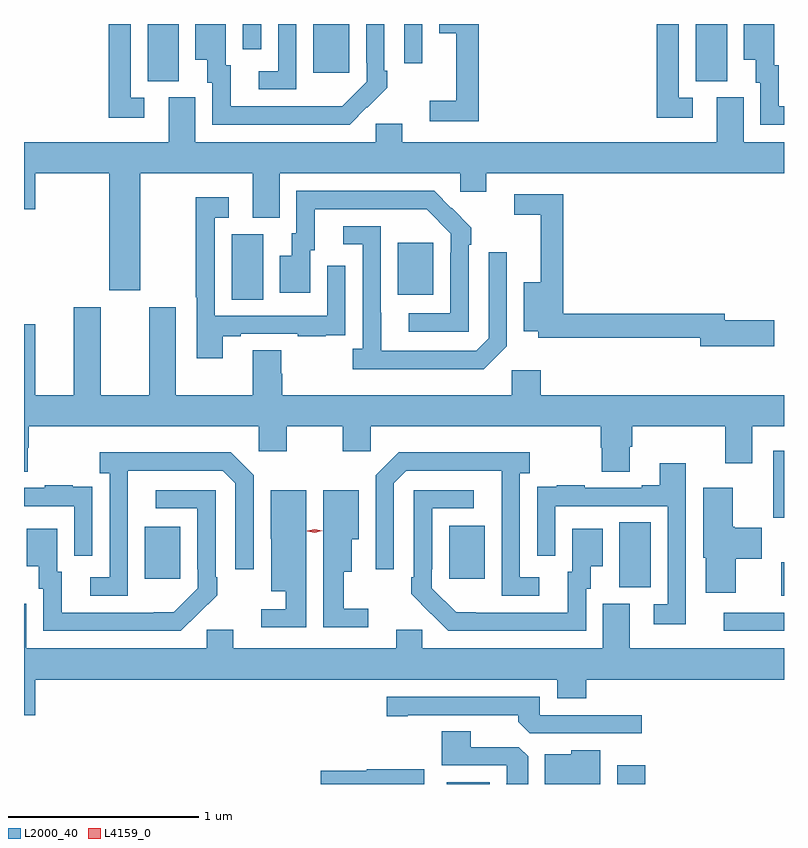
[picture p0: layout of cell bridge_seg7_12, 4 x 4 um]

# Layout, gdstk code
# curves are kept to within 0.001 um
import gdstk
lib = gdstk.Library(unit=1e-6, precision=1e-09)
def R(c, l, rs):  # rectangles x0, y0, x1, y1
    for r in rs: c.add(gdstk.rectangle(r[:2], r[2:], *l))
def P(c, l, *ps):  # polygons
    for p in ps: c.add(gdstk.Polygon(p, *l))
L2000_40 = (2000, 40)
L4159_0 = (4159, 0)

bridge_seg7_12 = lib.new_cell('bridge_seg7_12')
R(bridge_seg7_12, L2000_40, [(1102.403,1040.026,1102.63,1040.035), (1103.3,1040.026,1103.447,1040.125), (1103.862,1040.832,1104.178,1040.928), (1104.164,1041.017,1104.178,1041.192), (1103.312,1041.061,1103.476,1041.404), (1100.813,1041.105,1101.001,1041.379), (1102.415,1041.105,1102.603,1041.385), (1104.122,1041.428,1104.178,1041.781), (1101.272,1042.576,1101.436,1042.92), (1102.145,1042.601,1102.333,1042.876), (1100.828,1043.725,1100.992,1044.026), (1103.714,1043.725,1103.878,1044.026), (1101.701,1043.769,1101.889,1044.026), (1102.179,1043.82,1102.275,1044.026), (1101.33,1043.892,1101.426,1044.026)])
P(bridge_seg7_12, L2000_40, [(1104.178,1043.592),(1104.151,1043.592),(1104.151,1043.808),(1104.127,1043.808),(1104.127,1044.026),(1103.966,1044.026),(1103.966,1043.837),(1104.029,1043.837),(1104.029,1043.718),(1104.054,1043.718),(1104.054,1043.496),(1104.178,1043.496)],
  [(1103.698,1043.637),(1103.625,1043.637),(1103.625,1044.026),(1103.509,1044.026),(1103.509,1043.532),(1103.698,1043.532)],
  [(1101.983,1043.587),(1101.984,1043.586),(1102.089,1043.691),(1102.089,1043.779),(1102.074,1043.779),(1102.074,1044.026),(1101.978,1044.026),(1101.978,1043.821),(1101.981,1043.821),(1101.981,1043.721),(1101.853,1043.593),(1101.749,1043.592),(1101.265,1043.592),(1101.265,1043.808),(1101.241,1043.808),(1101.241,1044.026),(1101.08,1044.026),(1101.08,1043.837),(1101.143,1043.837),(1101.143,1043.718),(1101.168,1043.718),(1101.168,1043.496),(1101.892,1043.496)],
  [(1101.612,1044.026),(1101.516,1044.026),(1101.516,1043.778),(1101.414,1043.778),(1101.414,1043.682),(1101.612,1043.682)],
  [(1100.812,1043.637),(1100.739,1043.637),(1100.739,1044.026),(1100.623,1044.026),(1100.623,1043.532),(1100.812,1043.532)],
  [(1102.571,1044.026),(1102.364,1044.026),(1102.364,1043.978),(1102.454,1043.978),(1102.454,1043.623),(1102.314,1043.623),(1102.314,1043.514),(1102.571,1043.514)],
  [(1100.791,1043.24),(1101.383,1043.24),(1101.383,1043.005),(1101.523,1043.005),(1101.523,1043.24),(1102.473,1043.24),(1102.473,1043.142),(1102.612,1043.142),(1102.612,1043.24),(1104.178,1043.24),(1104.178,1043.404),(1103.965,1043.404),(1103.965,1043.64),(1103.825,1043.64),(1103.825,1043.404),(1102.168,1043.404),(1102.168,1043.502),(1102.029,1043.502),(1102.029,1043.404),(1101.079,1043.404),(1101.079,1043.64),(1100.939,1043.64),(1100.939,1043.404),(1100.178,1043.404),(1100.178,1043.052),(1100.236,1043.052),(1100.236,1043.24),(1100.627,1043.24),(1100.627,1042.626),(1100.791,1042.626)],
  [(1102.518,1042.865),(1102.533,1042.865),(1102.533,1042.953),(1102.336,1043.148),(1101.612,1043.148),(1101.612,1042.926),(1101.587,1042.926),(1101.587,1042.807),(1101.524,1042.807),(1101.524,1042.611),(1101.685,1042.611),(1101.685,1042.836),(1101.709,1042.836),(1101.709,1043.052),(1102.297,1043.052),(1102.425,1042.923),(1102.425,1042.823),(1102.422,1042.823),(1102.422,1042.503),(1102.203,1042.503),(1102.203,1042.407),(1102.518,1042.407)],
  [(1104.127,1042.466),(1103.866,1042.466),(1103.866,1042.502),(1103.015,1042.502),(1103.015,1043.13),(1102.758,1043.13),(1102.758,1043.022),(1102.898,1043.022),(1102.898,1042.666),(1102.808,1042.666),(1102.808,1042.409),(1102.884,1042.409),(1102.884,1042.374),(1103.738,1042.374),(1103.738,1042.331),(1104.127,1042.331)],
  [(1101.223,1042.382),(1101.319,1042.382),(1101.319,1042.395),(1101.619,1042.395),(1101.619,1042.382),(1101.767,1042.382),(1101.767,1042.389),(1101.869,1042.389),(1101.869,1042.498),(1101.87,1042.498),(1101.87,1042.753),(1101.774,1042.753),(1101.774,1042.491),(1101.183,1042.491),(1101.183,1043.007),(1101.256,1043.007),(1101.256,1043.113),(1101.082,1043.113),(1101.082,1042.588),(1101.087,1042.588),(1101.087,1042.266),(1101.223,1042.266)],
  [(1102.719,1042.329),(1102.719,1042.825),(1102.623,1042.825),(1102.623,1042.371),(1102.557,1042.305),(1102.057,1042.305),(1102.056,1042.962),(1101.858,1042.962),(1101.858,1042.866),(1101.96,1042.866),(1101.96,1042.318),(1101.909,1042.318),(1101.909,1042.208),(1102.598,1042.208)],
  [(1100.178,1041.67),(1100.199,1041.67),(1100.199,1041.795),(1100.204,1041.795),(1100.204,1041.908),(1101.414,1041.908),(1101.414,1041.777),(1101.561,1041.777),(1101.561,1041.908),(1101.856,1041.908),(1101.856,1041.777),(1102.002,1041.777),(1102.002,1041.908),(1103.213,1041.908),(1103.213,1041.795),(1103.218,1041.795),(1103.218,1041.67),(1103.365,1041.67),(1103.365,1041.802),(1103.378,1041.802),(1103.378,1041.908),(1103.87,1041.908),(1103.87,1041.714),(1104.01,1041.714),(1104.01,1041.908),(1104.178,1041.908),(1104.178,1042.072),(1102.898,1042.072),(1102.898,1042.204),(1102.746,1042.204),(1102.746,1042.072),(1101.536,1042.072),(1101.536,1042.185),(1101.531,1042.185),(1101.531,1042.31),(1101.383,1042.31),(1101.383,1042.072),(1100.977,1042.072),(1100.977,1042.534),(1100.837,1042.534),(1100.837,1042.072),(1100.581,1042.072),(1100.581,1042.534),(1100.441,1042.534),(1100.441,1042.072),(1100.236,1042.072),(1100.236,1042.447),(1100.178,1042.447)],
  [(1100.724,1041.475),(1100.725,1041.675),(1101.225,1041.675),(1101.291,1041.609),(1101.291,1041.156),(1101.387,1041.156),(1101.387,1041.651),(1101.266,1041.772),(1100.577,1041.772),(1100.577,1041.662),(1100.628,1041.662),(1100.628,1041.114),(1100.526,1041.114),(1100.526,1041.018),(1100.724,1041.018)],
  [(1102.891,1041.114),(1102.788,1041.114),(1102.788,1041.662),(1102.84,1041.662),(1102.84,1041.772),(1102.15,1041.772),(1102.029,1041.651),(1102.029,1041.156),(1102.125,1041.156),(1102.125,1041.609),(1102.191,1041.675),(1102.692,1041.675),(1102.692,1041.018),(1102.891,1041.018)],
  [(1103.661,1041.715),(1103.525,1041.715),(1103.525,1041.598),(1103.429,1041.598),(1103.429,1041.585),(1103.129,1041.585),(1103.129,1041.598),(1102.981,1041.598),(1102.981,1041.591),(1102.879,1041.591),(1102.879,1041.482),(1102.878,1041.482),(1102.878,1041.228),(1102.974,1041.228),(1102.974,1041.489),(1103.565,1041.489),(1103.565,1040.973),(1103.493,1040.973),(1103.493,1040.868),(1103.661,1040.868)],
  [(1100.538,1041.482),(1100.537,1041.482),(1100.537,1041.591),(1100.435,1041.591),(1100.435,1041.598),(1100.287,1041.598),(1100.287,1041.585),(1100.178,1041.585),(1100.178,1041.489),(1100.442,1041.489),(1100.442,1041.228),(1100.538,1041.228)],
  [(1103.923,1041.212),(1104.061,1041.212),(1104.061,1041.375),(1103.919,1041.375),(1103.919,1041.381),(1103.908,1041.381),(1103.908,1041.586),(1103.753,1041.586),(1103.753,1041.216),(1103.765,1041.216),(1103.765,1041.033),(1103.923,1041.033)],
  [(1101.095,1040.923),(1101.096,1040.922),(1101.194,1041.02),(1101.194,1041.115),(1101.186,1041.115),(1101.186,1041.573),(1100.871,1041.573),(1100.871,1041.477),(1101.09,1041.477),(1101.09,1041.157),(1101.093,1041.157),(1101.093,1041.057),(1100.965,1040.929),(1100.377,1040.928),(1100.377,1041.144),(1100.353,1041.144),(1100.353,1041.37),(1100.192,1041.37),(1100.192,1041.173),(1100.255,1041.173),(1100.255,1041.054),(1100.28,1041.054),(1100.28,1040.832),(1101.004,1040.832)],
  [(1103.136,1041.054),(1103.161,1041.054),(1103.161,1041.173),(1103.224,1041.173),(1103.224,1041.37),(1103.063,1041.37),(1103.063,1041.144),(1103.039,1041.144),(1103.039,1040.928),(1102.452,1040.929),(1102.323,1041.057),(1102.323,1041.157),(1102.326,1041.157),(1102.326,1041.477),(1102.546,1041.477),(1102.546,1041.573),(1102.23,1041.573),(1102.23,1041.115),(1102.215,1041.115),(1102.215,1041.027),(1102.412,1040.832),(1103.136,1040.832)],
  [(1101.663,1041.145),(1101.664,1041.145),(1101.664,1041.571),(1101.476,1041.571),(1101.476,1041.318),(1101.479,1041.318),(1101.479,1041.041),(1101.555,1041.041),(1101.555,1040.946),(1101.426,1040.946),(1101.426,1040.85),(1101.663,1040.85)],
  [(1101.991,1040.948),(1101.862,1040.948),(1101.862,1041.143),(1101.904,1041.143),(1101.904,1041.314),(1101.94,1041.314),(1101.94,1041.571),(1101.752,1041.571),(1101.752,1041.318),(1101.753,1041.318),(1101.753,1040.85),(1101.991,1040.85)],
  [(1100.236,1040.576),(1102.985,1040.576),(1102.985,1040.477),(1103.138,1040.477),(1103.138,1040.576),(1104.178,1040.576),(1104.178,1040.74),(1103.365,1040.74),(1103.365,1040.976),(1103.225,1040.976),(1103.225,1040.74),(1102.275,1040.74),(1102.275,1040.838),(1102.136,1040.838),(1102.136,1040.74),(1101.28,1040.74),(1101.28,1040.838),(1101.141,1040.838),(1101.141,1040.74),(1100.191,1040.74),(1100.191,1040.976),(1100.178,1040.976),(1100.178,1040.388),(1100.236,1040.388)],
  [(1103.428,1040.388),(1102.893,1040.388),(1102.893,1040.484),(1102.086,1040.484),(1102.086,1040.383),(1102.198,1040.383),(1102.198,1040.388),(1102.778,1040.388),(1102.778,1040.354),(1102.839,1040.292),(1103.428,1040.292)],
  [(1102.831,1040.171),(1102.782,1040.22),(1102.528,1040.22),(1102.528,1040.303),(1102.376,1040.303),(1102.376,1040.124),(1102.719,1040.124),(1102.719,1040.027),(1102.715,1040.027),(1102.715,1040.026),(1102.831,1040.026)],
  [(1103.212,1040.203),(1103.058,1040.203),(1103.058,1040.182),(1102.919,1040.182),(1102.919,1040.026),(1103.212,1040.026)],
  [(1102.285,1040.104),(1101.981,1040.104),(1101.981,1040.095),(1101.74,1040.095),(1101.74,1040.026),(1102.285,1040.026)])
P(bridge_seg7_12, L4159_0, [(1101.708,1041.348),(1101.669,1041.357),(1101.669,1041.358),(1101.669,1041.358),(1101.708,1041.368),(1101.747,1041.358),(1101.748,1041.358),(1101.747,1041.358)])

lib.write_gds('bridge_seg7_12.gds')
